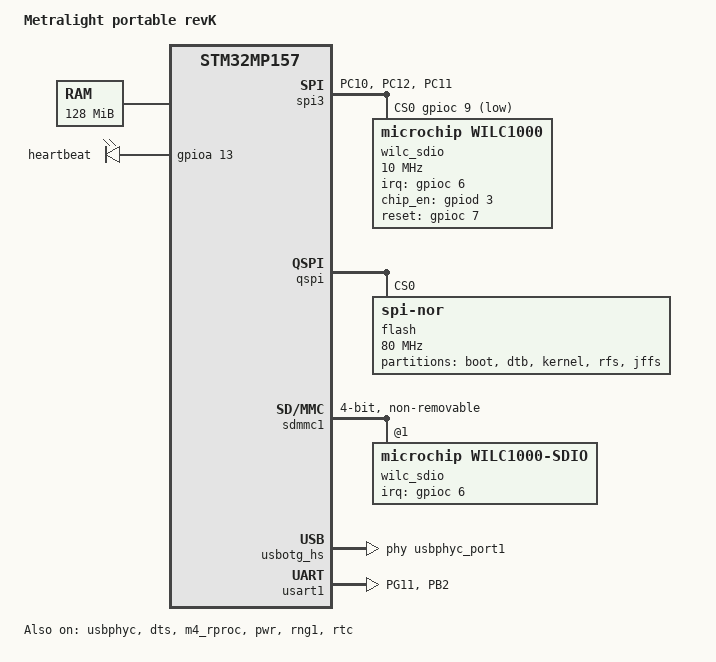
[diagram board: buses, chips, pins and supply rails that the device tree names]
/*
   EAX Labs, portable K
 */

/dts-v1/;

#include "stm32mp157c.dtsi"
#include "stm32mp157c-m4-srm.dtsi"
#include "stm32mp157cac-pinctrl.dtsi"
#include <dt-bindings/input/input.h>
#include <dt-bindings/mfd/st,stpmic1.h>

/ {
	model = "Metralight portable revK";
	compatible = "st,stm32mp157a-dk1", "st,stm32mp157";

	aliases {
		serial0 = &usart1;
	};

	cpus {
		psci {
			compatible = "arm,psci-1.0";
			method = "none";
		};
	};

	chosen {
		stdout-path = "serial0:115200n8";
		bootargs = "ignore_loglevel clk_ignore_unused earlyprintk exarlycon console=ttySTM0,115200n8 debug_boot_weak_hash init=/bin/init rdinit=/bin/init dyndbg=\"module armmmci +p; module mmc_core +p\"";
		linux,initrd-start = <0xcd100000>; 
		linux,initrd-end   = <0xcd20ced5>;
	};

	memory@c0000000 {
		device_type = "memory";
		reg = <0xc0000000 0x08000000>;
	};

	reserved-memory {
		#address-cells = <1>;
		#size-cells = <1>;
		ranges;

		retram: retram@0x38000000 {
			compatible = "shared-dma-pool";
			reg = <0x38000000 0x10000>;
			no-map;
		};

		mcuram: mcuram@0x30000000 {
			compatible = "shared-dma-pool";
			reg = <0x30000000 0x40000>;
			no-map;
		};

		mcuram2: mcuram2@0x10000000 {
			compatible = "shared-dma-pool";
			reg = <0x10000000 0x40000>;
			no-map;
		};

		vdev0vring0: vdev0vring0@10040000 {
			compatible = "shared-dma-pool";
			reg = <0x10040000 0x2000>;
			no-map;
		};

		vdev0vring1: vdev0vring1@10042000 {
			compatible = "shared-dma-pool";
			reg = <0x10042000 0x2000>;
			no-map;
		};

		vdev0buffer: vdev0buffer@10044000 {
			compatible = "shared-dma-pool";
			reg = <0x10044000 0x4000>;
			no-map;
		};

		gpu_reserved: gpu@d4000000 {
			reg = <0xd4000000 0x1000000>;
			no-map;
		};
	};

	sram: sram@10050000 {
		compatible = "mmio-sram";
		reg = <0x10050000 0x10000>;
		#address-cells = <1>;
		#size-cells = <1>;
		ranges = <0 0x10050000 0x10000>;

		dma_pool: dma_pool@0 {
			reg = <0x0 0x10000>;
			pool;
		};
	};

	led {
		compatible = "gpio-leds";
		blue {
			label = "heartbeat";
			gpios = <&gpioa 13 GPIO_ACTIVE_HIGH>;
			linux,default-trigger = "heartbeat";
			default-state = "off";
		};
	};

	usb_phy_tuning: usb-phy-tuning {
		st,hs-dc-level = <2>;
		st,fs-rftime-tuning;
		st,hs-rftime-reduction;
		st,hs-current-trim = <15>;
		st,hs-impedance-trim = <1>;
		st,squelch-level = <3>;
		st,hs-rx-offset = <2>;
		st,no-lsfs-sc;
	};

//	wifi_pwrseq: wifi_pwrseq {
//		compatible = "mmc-pwrseq-simple";
//		reset-gpios = <&gpioc 7 GPIO_ACTIVE_LOW>,<&gpiod 3 GPIO_ACTIVE_LOW>;
//	};

};

&pinctrl {
//	perst_1 {
//		gpio-hog;
//		gpios = <&gpioc 7 GPIO_ACTIVE_HIGH>, <&gpiod 3 GPIO_ACTIVE_HIGH>;
//		output-high;
//		line-name = "wifi_pwr";
//	};
	usart1_pins_a: usart1-0 {
		pins1 {
			pinmux = <STM32_PINMUX('G', 11, AF4)>; /* TX */
			bias-disable;
			drive-push-pull;
			slew-rate = <0>;
		};
		pins2 {
			pinmux = <STM32_PINMUX('B', 2, AF4)>; /* RX */
			bias-disable;
		};
	};
	spi3_pins_a: spi3-0 {
		pins1 {
			pinmux = <STM32_PINMUX('C', 10, AF6)>, /* SPI3_SCK */
				 <STM32_PINMUX('C', 12, AF6)>; /* SPI3_MOSI */

			bias-disable;
			drive-push-pull;
			slew-rate = <1>;
		};

		pins2 {
			pinmux = <STM32_PINMUX('C', 11, AF6)>; /* SPI3_MISO */
			bias-disable;
		};
	};
};

&spi3 {
	status = "okay";
	pinctrl-names = "default";
	pinctrl-0 = <&spi3_pins_a>;
	cs-gpios = <&gpioc 9 GPIO_ACTIVE_LOW>;
	wilc_sdio@0 {
		compatible = "microchip,wilc1000", "microchip,wilc1000-spi";
		irq-gpios = <&gpioc 6 GPIO_ACTIVE_HIGH>;
		chip_en-gpios = <&gpiod 3 GPIO_ACTIVE_HIGH>;
		reset-gpios = <&gpioc 7 GPIO_ACTIVE_HIGH>;
		status = "okay";
		reg = <0>;
		spi-max-frequency = <10000000>;
	};
};

&qspi {
	status = "okay";
	pinctrl-names = "default";
	pinctrl-0 = <&qspi_clk_pins_a>, <&qspi_bk1_pins_a>;
	#address-cells = <1>;
	#size-cells = <0>;
	flash@0 {
		compatible = "jedec,spi-nor";   /* let it auto-detect the flash */
		reg = <0>;
		spi-max-frequency = <80000000>;

		partitions {
			 compatible = "fixed-partitions";
			 #address-cells = <1>;
			 #size-cells = <1>;

			partition@000000 {
				label ="boot";
				reg = <0x0000000 0x40000>; /* 256k bootldr */
			};
			partition@000001 {
				label ="dtb";
				reg = <0x0040000 0x40000>; /* 256k dtb */
			};
			partition@010000 {
				label ="kernel";
				reg = <0x0100000 0x300000>; /* 3M kernel */
			};
			partition@400000 {
				label ="rfs";
				reg = <0x0200000 0x600000>; /* 12M rfs */
			};
			partition@800000 {
				label ="jffs";
				reg = <0x1000000 0x1000000>; 
			};
		};
	};
};

&sdmmc1 {
	pinctrl-names = "default", "opendrain", "sleep";
	pinctrl-0 = <&sdmmc1_b4_pins_a>;
	pinctrl-1 = <&sdmmc1_b4_od_pins_a>;
	pinctrl-2 = <&sdmmc1_b4_sleep_pins_a>;
	non-removable;
	st,neg-edge;
	no-sd;
	no-mmc;
	no-1-8-v;
	bus-width = <4>;
	#address-cells = <1>;
	#size-cells = <0>;
//	status = "okay";
//	mmc-pwrseq = <&wifi_pwrseq>;
	wilc_sdio@0 {
		compatible = "microchip,wilc1000-sdio";
		irq-gpios = <&gpioc 6 GPIO_ACTIVE_HIGH>;
//		status = "okay";
		reg = <1>;
		bus-width = <4>;
	};
};

&usbotg_hs {
//	pinctrl-names = "default";
//	pinctrl-0 = <&usbotg_hs_pins_a>;
	phys = <&usbphyc_port1 0>;
	phy-names = "usb2-phy";
	status = "okay";
};

&usbphyc {
	status = "okay";
};

//&usbphyc_port0 {
//	st,phy-tuning = <&usb_phy_tuning>;
//};

&usbphyc_port1 {
	st,phy-tuning = <&usb_phy_tuning>;
};
#if 0
&adc {
	pinctrl-names = "default";
	pinctrl-0 = <&adc12_ain_pins_a>, <&adc12_usb_pwr_pins_a>;
	vdd-supply = <&vdd>;
	vdda-supply = <&vdd>;
	vref-supply = <&vrefbuf>;
	status = "disabled";
	adc1: adc@0 {
		/*
		 * Type-C USB_PWR_CC1 & USB_PWR_CC2 on in18 & in19.
		 * Use at least 5 * RC time, e.g. 5 * (Rp + Rd) * C:
		 * 5 * (56 + 47kOhms) * 5pF => 2.5us.
		 * Use arbitrary margin here (e.g. 5µs).
		 */
		st,min-sample-time-nsecs = <5000>;
		/* AIN connector, USB Type-C CC1 & CC2 */
		st,adc-channels = <0 1 6 13 18 19>;
		status = "okay";
	};
	adc2: adc@100 {
		/* AIN connector, temp sensor, USB Type-C CC1 & CC2 */
		st,adc-channels = <0 1 2 6 12 18 19>;
		/* temperature sensor min sample time */
		st,min-sample-time-nsecs = <10000>;
		status = "okay";
	};
	adc_temp: temp {
		status = "okay";
	};
};
#endif
&dma1 {
	sram = <&dma_pool>;
};

&dma2 {
	sram = <&dma_pool>;
};

&dts {
	status = "okay";
};


//&gpu {
//	contiguous-area = <&gpu_reserved>;
//	status = "okay";
//};

&m4_rproc {
	memory-region = <&retram>, <&mcuram>, <&mcuram2>, <&vdev0vring0>,
			<&vdev0vring1>, <&vdev0buffer>;
	mboxes = <&ipcc 0>, <&ipcc 1>, <&ipcc 2>;
	mbox-names = "vq0", "vq1", "shutdown";
	interrupt-parent = <&exti>;
	interrupts = <68 1>;
	interrupt-names = "wdg";
	wakeup-source;
	recovery;
	status = "okay";
};

&pwr {
			status = "okay";
//	pwr-regulators {
//		vdd-supply = <&vdd>;
//		vdd_3v3_usbfs-supply = <&vdd_usb>;
//	};
};

&rng1 {
	status = "okay";
};

&rtc {
	status = "okay";
};

&usart1 {
	pinctrl-names = "default";
	pinctrl-0 = <&usart1_pins_a>;
	status = "okay";
};
#if 0
&usbotg_hs {
	extcon = <&typec>;
	phys = <&usbphyc_port1 0>;
	phy-names = "usb2-phy";
	status = "okay";
};

&usbphyc {
	vdd3v3-supply = <&vdd_usb>;
	status = "okay";
};

&usbphyc_port0 {
	st,phy-tuning = <&usb_phy_tuning>;
};

&usbphyc_port1 {
	st,phy-tuning = <&usb_phy_tuning>;
};

&vrefbuf {
	regulator-min-microvolt = <2500000>;
	regulator-max-microvolt = <2500000>;
	vdda-supply = <&vdd>;
	status = "okay";
};
#endif
